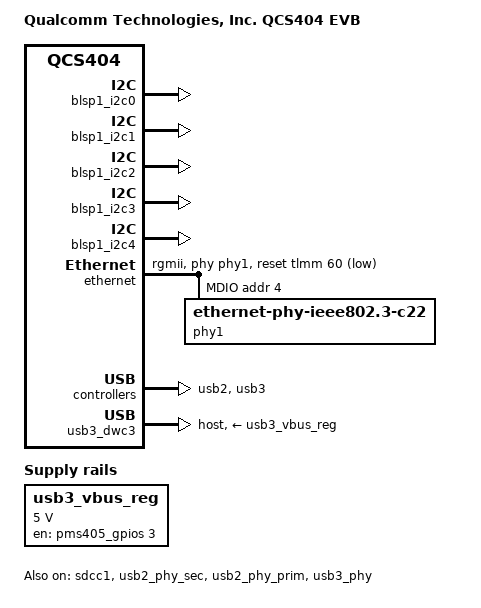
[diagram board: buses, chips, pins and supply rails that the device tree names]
// SPDX-License-Identifier: GPL-2.0+
/*
 * Qualcomm QCS404 based evaluation board device tree source
 *
 * (C) Copyright 2022 Sumit Garg <sumit.garg@linaro.org>
 */

/dts-v1/;

#include <dt-bindings/gpio/gpio.h>
#include "qcs404.dtsi"
#include "pms405.dtsi"
#include <dt-bindings/gpio/gpio.h>
#include <dt-bindings/pinctrl/qcom,pmic-gpio.h>

/ {
	model = "Qualcomm Technologies, Inc. QCS404 EVB";
	compatible = "qcom,qcs404-evb", "qcom,qcs404";
	#address-cells = <0x2>;
	#size-cells = <0x2>;

	aliases {
		serial0 = &blsp1_uart2;
		serial1 = &blsp1_uart3;
	};

	chosen {
		stdout-path = "serial0";
	};

	usb3_vbus_reg: regulator-usb3-vbus {
		compatible = "regulator-gpio";
		regulator-name = "VBUS_BOOST_5V";
		regulator-min-microvolt = <5000000>;
		regulator-max-microvolt = <5000000>;
		enable-gpios = <&pms405_gpios 3 GPIO_ACTIVE_HIGH>;
		states = <0 0>, <1800000 1>;
		enable-active-high;

		/* TODO: Drop this when introducing role switching */
		regulator-always-on;
	};
};

&blsp1_i2c0 {
	status = "okay";
};

&blsp1_i2c1 {
	status = "okay";
};

&blsp1_i2c2 {
	status = "okay";
};

&blsp1_i2c3 {
	status = "okay";
};

&blsp1_i2c4 {
	status = "okay";
};

&ethernet {
	status = "okay";

	snps,reset-gpio = <&tlmm 60 GPIO_ACTIVE_LOW>;
	snps,reset-active-low;
	snps,reset-delays-us = <0 10000 10000>;

	phy-handle = <&phy1>;
	phy-mode = "rgmii";
	mdio {
		#address-cells = <1>;
		#size-cells = <0>;
		compatible = "snps,dwmac-mdio";
		phy1: phy@4 {
			compatible = "ethernet-phy-ieee802.3-c22";
			device_type = "ethernet-phy";
			reg = <0x4>;
		};
	};
};

&sdcc1 {
	status = "okay";

	supports-cqe;
	mmc-ddr-1_8v;
	mmc-hs400-1_8v;
	bus-width = <8>;
	non-removable;
};

&usb2 {
	status = "okay";
};

&usb2_phy_sec {
	status = "okay";
};

&usb3 {
	status = "okay";

};

&usb3_dwc3 {
	dr_mode = "host";

	vbus-supply = <&usb3_vbus_reg>;
};

&usb2_phy_prim {
	status = "okay";
};

&usb3_phy {
	status = "okay";
};
